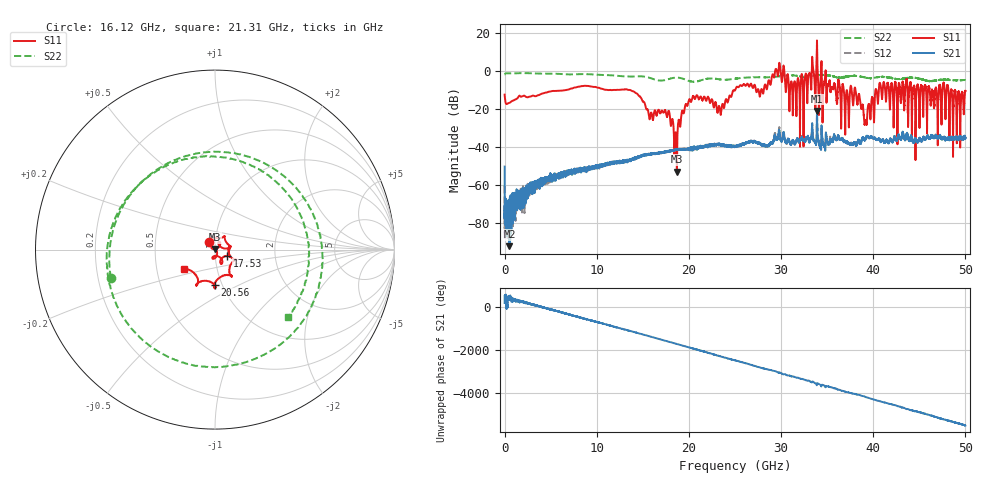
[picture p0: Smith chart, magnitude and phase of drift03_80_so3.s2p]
!Created with skrf (http://scikit-rf.org).
# Hz S RI R 50.0
!freq ReS11 ImS11 ReS21 ImS21 ReS12 ImS12 ReS22 ImS22
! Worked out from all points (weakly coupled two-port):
!   10001 points, 300 kHz to 50 GHz, reference 50 ohm
!   highest |S21| = -21.22 dB at 33.9 GHz (marker M1); lowest = -92.4 dB at 530.3 MHz (marker M2)
!   lowest |S11| = -53.1 dB at 18.69 GHz (marker M3), VSWR 1.00, Z = 49.9 + j0.185 ohm
!   |S11| at or under -10 dB: start of sweep to 6.941 GHz; 13.31 GHz to 25.05 GHz (11.74 GHz wide, 61.2 % of centre); 38.07 GHz to 40.25 GHz (2.18 GHz wide, 5.57 % of centre) (the widest 3 of 57)
!   |S22| runs from -5.9 to -1.3 dB; largest |S21 - S12| = 0.0084
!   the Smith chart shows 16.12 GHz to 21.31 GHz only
!   S11 on the Smith chart (normalised r, x): 16.12 GHz: 0.93, +0.08; 17.53 GHz: 1.14, -0.08; 20.56 GHz: 0.92, -0.38; 21.31 GHz: 0.69, -0.16
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300000  -0.2098 -0.101  -0.0029 0.000664  -0.000775 0.000487  -0.7626 -0.1925
5.302968e8  -0.0676 0.1249  1.26e-05 2.03e-05  0.000169 0.000169  -0.4003 0.7433
2.335286e9  0.0227 -0.2015  -0.000615 0.00011  -0.000592 -7.54e-05  0.0915 -0.8517
3.935276e9  -0.0199 0.2406  0.00147 -0.000351  0.000908 -5.7e-05  -0.0306 0.8324
5.470267e9  0.0684 -0.2819  -0.0018 0.00017  -0.00139 0.000178  0.1723 -0.8093
7.135257e9  0.00893 0.3327  0.00214 -0.000934  0.0022 -0.000681  -0.0457 0.7923
8.33525e9  0.2842 -0.2675  -0.00226 -0.000836  -0.00232 -0.000886  0.6041 -0.535
9.575243e9  -0.3718 -0.0486  0.00145 0.0024  0.00135 0.00244  -0.7858 -0.0985
1.124523e10  0.3064 0.0239  -0.00226 -0.00275  -0.00221 -0.00262  0.758 0.0227
1.61152e10  -0.0325 0.0405  0.00594 0.00218  0.00605 0.00215  -0.5796 -0.1566
1.66702e10  0.0536 0.0755  0.00456 -0.00487  0.00478 -0.00481  -0.3644 0.4154
1.752519e10  0.0672 -0.0346  -0.00609 -0.00375  -0.00608 -0.00411  0.4893 0.2951
1.869019e10  -0.00119 0.00185  0.00226 0.00778  0.00231 0.008  -0.0818 -0.6492
2.055518e10  -0.000791 -0.1989  -0.00841 -0.00497  -0.00739 -0.00448  0.3567 0.3643
2.131017e10  -0.1715 -0.1103  -0.00523 0.00779  -0.00505 0.00819  0.408 -0.3771
2.500015e10  -0.2963 -0.0492  0.00776 0.00707  0.00727 0.00665  -0.1805 -0.5836
3.052012e10  0.2293 -0.1461  -0.00124 0.0126  -0.00184 0.013  0.7453 -0.0652
3.214011e10  0.1977 0.4283  -0.00129 -0.0148  -0.000171 -0.0154  -0.7013 0.00729
3.33351e10  0.5105 -1.03  -0.00572 0.0249  -0.00591 0.0246  0.6113 0.3706
3.39001e10  2.069 -5.455  0.0746 0.0444  0.0691 0.0382  0.6794 -0.328
4.167005e10  -0.226 0.28  -0.0116 -0.00503  -0.0116 -0.00515  -0.6583 -0.0631
5e10  -0.1467 -0.252  0.000773 -0.0171  0.00107 -0.0166  0.4741 -0.3095
